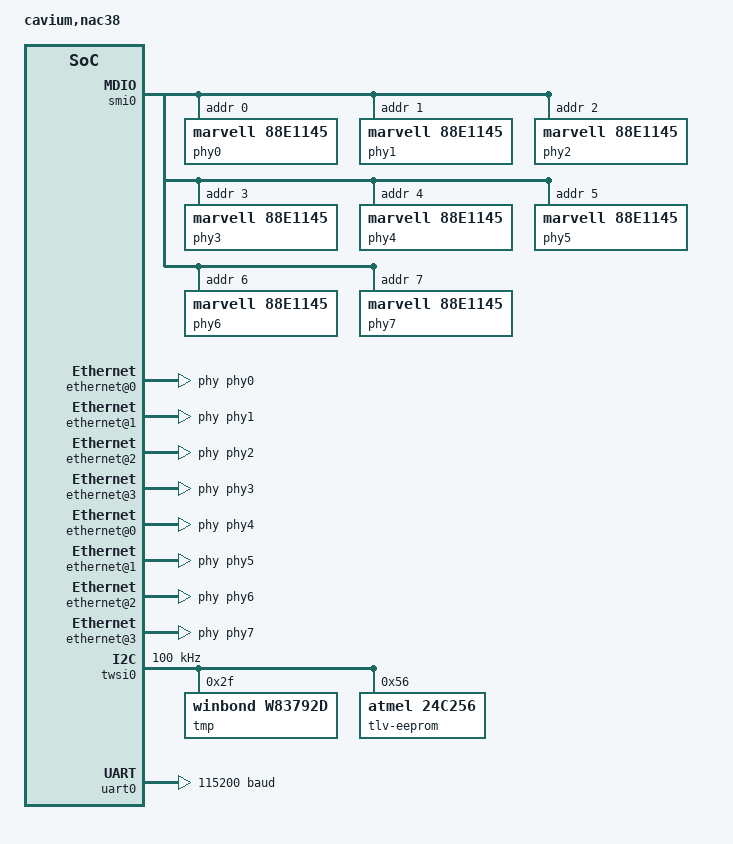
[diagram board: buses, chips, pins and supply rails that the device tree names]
/dts-v1/;
/*
 * Cavium Networks NAC38 board
 */
/ {
	model = "cavium,nac38";
	compatible = "cavium,nac38";
	#address-cells = <2>;
	#size-cells = <2>;
	interrupt-parent = <&ciu>;

	soc@0 {
		compatible = "simple-bus";
		#address-cells = <2>;
		#size-cells = <2>;
		ranges; /* Direct mapping */

		ciu: interrupt-controller@1070000000000 {
			compatible = "cavium,octeon-3860-ciu";
			interrupt-controller;
			/* Interrupts are specified by two parts:
			 * 1) Controller register (0 or 1)
			 * 2) Bit within the register (0..63)
			 */
			#interrupt-cells = <2>;
			reg = <0x10700 0x00000000 0x0 0x7000>;
		};

		gpio: gpio-controller@1070000000800 {
			#gpio-cells = <2>;
			compatible = "cavium,octeon-3860-gpio";
			reg = <0x10700 0x00000800 0x0 0x100>;
			gpio-controller;
			/* Interrupts are specified by two parts:
			 * 1) GPIO pin number (0..15)
			 * 2) Triggering (1 - edge rising
			 *		  2 - edge falling
			 *		  4 - level active high
			 *		  8 - level active low)
			 */
			interrupt-controller;
			#interrupt-cells = <2>;
			/* The GPIO pins connect to 16 consecutive CUI bits */
			interrupts = <0 16>; /* <0 17> <0 18> <0 19>
				     <0 20> <0 21> <0 22> <0 23>
				     <0 24> <0 25> <0 26> <0 27>
				     <0 28> <0 29> <0 30> <0 31>; */
		};

		smi0: mdio@1180000001800 {
			compatible = "cavium,octeon-3860-mdio";
			#address-cells = <1>;
			#size-cells = <0>;
			reg = <0x11800 0x00001800 0x0 0x40>;

			phy0: ethernet-phy@0 {
				reg = <0>;
				compatible = "marvell,88e1145";
			};
			phy1: ethernet-phy@1 {
				reg = <1>;
				compatible = "marvell,88e1145";
			};
			phy2: ethernet-phy@2 {
				reg = <2>;
				compatible = "marvell,88e1145";
			};
			phy3: ethernet-phy@3 {
				reg = <3>;
				compatible = "marvell,88e1145";
			};
			phy4: etherent-phy@4 {
				reg = <4>;
				compatible = "marvell,88e1145";
			};
			phy5: etherent-phy@5 {
				reg = <5>;
				compatible = "marvell,88e1145";
			};
			phy6: etherent-phy@6 {
				reg = <6>;
				compatible = "marvell,88e1145";
			};
			phy7: etherent-phy@7 {
				reg = <7>;
				compatible = "marvell,88e1145";
			};
		};

		pip: pip@11800a0000000 {
			compatible = "cavium,octeon-3860-pip";
			#address-cells = <1>;
			#size-cells = <0>;
			reg = <0x11800 0xa0000000 0x0 0x2000>;

			interface@0 {
				compatible = "cavium,octeon-3860-pip-interface";
				#address-cells = <1>;
				#size-cells = <0>;
				reg = <0>; /* interface */

				ethernet@0 {
					compatible = "cavium,octeon-3860-pip-port";
					reg = <0x0>; /* Port */
					local-mac-address = [ 00 00 00 00 00 00 ];
					phy-handle = <&phy0>;
				};
				ethernet@1 {
					compatible = "cavium,octeon-3860-pip-port";
					reg = <0x1>; /* Port */
					local-mac-address = [ 00 00 00 00 00 00 ];
					phy-handle = <&phy1>;
				};
				ethernet@2 {
					compatible = "cavium,octeon-3860-pip-port";
					reg = <0x2>; /* Port */
					local-mac-address = [ 00 00 00 00 00 00 ];
					phy-handle = <&phy2>;
				};
				ethernet@3 {
					compatible = "cavium,octeon-3860-pip-port";
					reg = <0x3>; /* Port */
					local-mac-address = [ 00 00 00 00 00 00 ];
					phy-handle = <&phy3>;
				};
			};

			interface@1 {
				compatible = "cavium,octeon-3860-pip-interface";
				#address-cells = <1>;
				#size-cells = <0>;
				reg = <1>; /* interface */
				ethernet@0 {
					compatible = "cavium,octeon-3860-pip-port";
					reg = <0x0>; /* Port */
					local-mac-address = [ 00 00 00 00 00 00 ];
					phy-handle = <&phy4>;
				};
				ethernet@1 {
					compatible = "cavium,octeon-3860-pip-port";
					reg = <0x1>; /* Port */
					local-mac-address = [ 00 00 00 00 00 00 ];
					phy-handle = <&phy5>;
				};
				ethernet@2 {
					compatible = "cavium,octeon-3860-pip-port";
					reg = <0x2>; /* Port */
					local-mac-address = [ 00 00 00 00 00 00 ];
					phy-handle = <&phy6>;
				};
				ethernet@3 {
					compatible = "cavium,octeon-3860-pip-port";
					reg = <0x3>; /* Port */
					local-mac-address = [ 00 00 00 00 00 00 ];
					phy-handle = <&phy7>;
				};
			};
		};

		twsi0: i2c@1180000001000 {
			#address-cells = <1>;
			#size-cells = <0>;
			compatible = "cavium,octeon-3860-twsi";
			reg = <0x11800 0x00001000 0x0 0x200>;
			interrupts = <0 45>;
			clock-frequency = <100000>;
/*
			rtc@69 {
				compatible = "dallas,ds1337";
				reg = <0x69>;
			};
			*/
			tmp@2f {
				compatible = "winbond,w83792d";
				reg = <0x2f>;
			};
			tlv-eeprom@56 {
				compatible = "atmel,24c256";
				reg = <0x56>;
				pagesize = <64>;
			};

		};

		uart0: serial@1180000000800 {
			compatible = "cavium,octeon-3860-uart","ns16550";
			reg = <0x11800 0x00000800 0x0 0x400>;
			clock-frequency = <0>;
			current-speed = <115200>;
			reg-shift = <3>;
			interrupts = <0 34>;
		};

		bootbus: bootbus@1180000000000 {
			compatible = "cavium,octeon-3860-bootbus";
			reg = <0x11800 0x00000000 0x0 0x200>;
			/* The chip select number and offset */
			#address-cells = <2>;
			/* The size of the chip select region */
			#size-cells = <1>;
			ranges = <0 0  0       0x1f400000  0xc00000>,
				 <1 0  0x10000 0x10000000  0>,
				 <2 0  0       0x1d010000  0x10000>,
				 <3 0  0       0x1d000000  0x10000>,
				 <4 0  0x10000 0x40000000  0>,
				 <5 0  0x10000 0x50000000  0>,
				 <6 0  0x10000 0x60000000  0>,
				 <7 0  0       0x1d030000  0x10000>;

			cavium,cs-config@0 {
				compatible = "cavium,octeon-3860-bootbus-config";
				cavium,cs-index = <0>;
				cavium,t-adr  = <10>;
				cavium,t-ce   = <50>;
				cavium,t-oe   = <50>;
				cavium,t-we   = <35>;
				cavium,t-rd-hld = <25>;
				cavium,t-wr-hld = <35>;
				cavium,t-pause  = <0>;
				cavium,t-wait   = <300>;
				cavium,t-page   = <25>;
				cavium,t-rd-dly = <0>;

				cavium,pages     = <0>;
				cavium,bus-width = <8>;
			};
			cavium,cs-config@2 {
				compatible = "cavium,octeon-3860-bootbus-config";
				cavium,cs-index = <2>;
				cavium,t-adr  = <300>;
				cavium,t-ce   = <30>;
				cavium,t-oe   = <270>;
				cavium,t-we   = <150>;
				cavium,t-rd-hld = <100>;
				cavium,t-wr-hld = <70>;
				cavium,t-pause  = <0>;
				cavium,t-wait   = <300>;
				cavium,t-page   = <300>;
				cavium,t-rd-dly = <0>;

				cavium,pages     = <0>;
				cavium,bus-width = <8>;
			};
			cavium,cs-config@3 {
				compatible = "cavium,octeon-3860-bootbus-config";
				cavium,cs-index = <3>;
				cavium,t-adr  = <5>;
				cavium,t-ce   = <300>;
				cavium,t-oe   = <125>;
				cavium,t-we   = <150>;
				cavium,t-rd-hld = <100>;
				cavium,t-wr-hld = <30>;
				cavium,t-pause  = <0>;
				cavium,t-wait   = <30>;
				cavium,t-page   = <300>;
				cavium,t-rd-dly = <0>;

				cavium,pages     = <0>;
				cavium,bus-width = <8>;
			};

			cavium,cs-config@7 {
				compatible = "cavium,octeon-3860-bootbus-config";
				cavium,cs-index = <7>;
				cavium,t-adr   = <230>;
				cavium,t-ce    = <70>;
				cavium,t-oe    = <460>;
				cavium,t-we    = <460>;
				cavium,t-rd-hld = <30>;
				cavium,t-wr-hld = <30>;
				cavium,t-pause = <230>;
				cavium,bus-width = <8>;
			};

			flash0: nor@0,0 {
				compatible = "cfi-flash";
				reg = <0 0 0x800000>;
				#address-cells = <1>;
				#size-cells = <1>;

				partition@0 {
					label = "bootloader";
					reg = <0x0 0x200000>;
					read-only;
				};
				partition@200000 {
					label = "kernel";
					reg = <0x200000 0x200000>;
				};
				partition@400000 {
					label = "cramfs";
					reg = <0x400000 0x3fe000>;
				};
				partition@7fe000 {
					label = "environment";
					reg = <0x7fe000 0x2000>;
					read-only;
				};
			};

			compact-flash@3,0 {
				compatible = "cavium,ebt3000-compact-flash";
				reg = <3 0 0x10000>, <2 0 0x10000>;
				cavium,bus-width = <8>;
			};

			lcd-display@7,0 {
				compatible = "samsung,s6a0069";
				reg = <7 0 0x1000>;
				cavium,bus-width = <8>;
			};
		};

	};

	aliases {
		pip = &pip;
		smi0 = &smi0;
		twsi0 = &twsi0;
		uart0 = &uart0;
		flash0 = &flash0;
	};
 };
